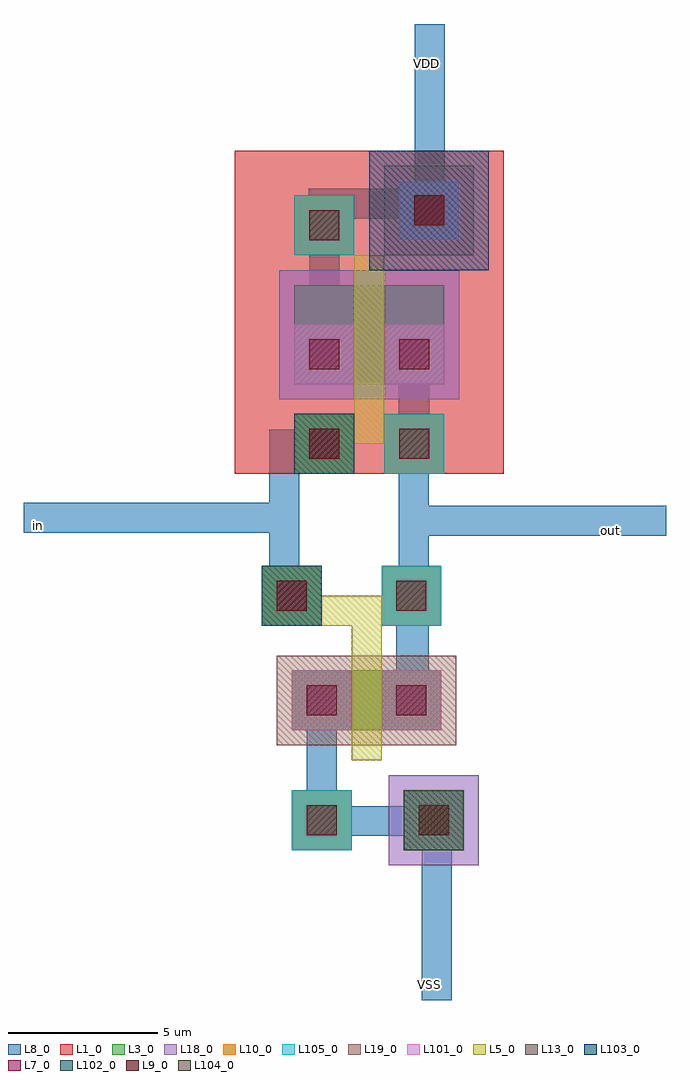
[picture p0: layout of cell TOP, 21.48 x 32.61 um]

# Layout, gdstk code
import gdstk
lib = gdstk.Library(unit=1e-6, precision=1e-08)
def R(c, l, rs):  # rectangles x0, y0, x1, y1
    for r in rs: c.add(gdstk.rectangle(r[:2], r[2:], *l))
L1_0 = (1, 0)
L3_0 = (3, 0)
L5_0 = (5, 0)
L7_0 = (7, 0)
L8_0 = (8, 0)
L9_0 = (9, 0)
L10_0 = (10, 0)
L13_0 = (13, 0)
L18_0 = (18, 0)
L19_0 = (19, 0)
L101_0 = (101, 0)
L102_0 = (102, 0)
L103_0 = (103, 0)
L104_0 = (104, 0)
L105_0 = (105, 0)

dcont = lib.new_cell('dcont')
R(dcont, L3_0, [(-1,-1,1,1)])
R(dcont, L7_0, [(-0.5,-0.5,0.5,0.5)])
R(dcont, L8_0, [(-1,-1,1,1)])
R(dcont, L13_0, [(-0.5,-0.5,0.5,0.5)])
R(dcont, L101_0, [(-1,-1,1,1)])

pcont = lib.new_cell('pcont')
R(pcont, L5_0, [(-1,-1,1,1)])
R(pcont, L7_0, [(-0.5,-0.5,0.5,0.5)])
R(pcont, L8_0, [(-1,-1,1,1)])
R(pcont, L13_0, [(-0.5,-0.5,0.5,0.5)])
R(pcont, L102_0, [(-1,-1,1,1)])

via = lib.new_cell('Via')
R(via, L8_0, [(-1,-1,1,1)])
R(via, L9_0, [(-0.5,-0.5,0.5,0.5)])
R(via, L10_0, [(-1,-1,1,1)])
R(via, L13_0, [(-0.5,-0.5,0.5,0.5)])
R(via, L105_0, [(-1,-1,1,1)])

dcont1 = lib.new_cell('dcont1')
R(dcont1, L3_0, [(-1,-1,1,1)])
R(dcont1, L7_0, [(-0.5,-0.5,0.5,0.5)])
R(dcont1, L8_0, [(-1,-1,1,1)])
R(dcont1, L13_0, [(-0.5,-0.5,0.5,0.5)])
R(dcont1, L101_0, [(-1,-1,1,1)])

nsubcont = lib.new_cell('nsubcont')
R(nsubcont, L1_0, [(-2,-2,2,2)])
R(nsubcont, L19_0, [(-1.5,-1.5,1.5,1.5)])
R(nsubcont, L103_0, [(-2,-2,2,2)])
nsubcont.add(gdstk.Reference(dcont1, (0,0)))

pch_1 = lib.new_cell('Pch$1')
R(pch_1, L1_0, [(-2,0,7,10.8)])
R(pch_1, L3_0, [(0,3,5,6.3)])
R(pch_1, L18_0, [(-0.5,2.5,5.5,6.8)])
pch_1.add(gdstk.FlexPath([(1,3),(1,6.3)], 2, ends="flush", simple_path=True, layer=8, datatype=0))  # L8_0
pch_1.add(gdstk.FlexPath([(4,3),(4,6.3)], 2, ends="flush", simple_path=True, layer=8, datatype=0))  # L8_0
pch_1.add(gdstk.FlexPath([(1,5.3),(1,8.3)], 1, ends="flush", simple_path=True, layer=8, datatype=0))  # L8_0
pch_1.add(gdstk.FlexPath([(4,1),(4,4)], 1, ends="flush", simple_path=True, layer=8, datatype=0))  # L8_0
pch_1.add(gdstk.FlexPath([(2.5,3),(2.5,6.3)], 1, ends=(1, 1), simple_path=True, layer=5, datatype=0))  # L5_0
pch_1.add(gdstk.FlexPath([(1,1.5),(2.5,1.5),(2.5,2)], 1, ends="flush", simple_path=True, layer=5, datatype=0))  # L5_0
pch_1.add(gdstk.Reference(dcont, (1,4)))
pch_1.add(gdstk.Reference(dcont, (4,4)))
pch_1.add(gdstk.Reference(pcont, (1,1)))
pch_1.add(gdstk.Reference(via, (1,1)))
pch_1.add(gdstk.Reference(via, (1,8.3)))
pch_1.add(gdstk.Reference(via, (4,1)))
pch_1.add(gdstk.Reference(nsubcont, (4.5,8.8)))
pch_1.add(gdstk.Reference(via, (4.5,8.8)))

psubcont = lib.new_cell('psubcont')
R(psubcont, L18_0, [(-1.5,-1.5,1.5,1.5)])
R(psubcont, L104_0, [(-1,-1,1,1)])
psubcont.add(gdstk.Reference(dcont1, (0,0)))

nch = lib.new_cell('Nch')
R(nch, L3_0, [(0,3,5,5)])
R(nch, L19_0, [(-0.5,2.5,5.5,5.5)])
nch.add(gdstk.FlexPath([(1,3),(1,5)], 2, ends="flush", simple_path=True, layer=8, datatype=0))  # L8_0
nch.add(gdstk.FlexPath([(4,3),(4,5)], 2, ends="flush", simple_path=True, layer=8, datatype=0))  # L8_0
nch.add(gdstk.FlexPath([(1,0),(1,4)], 1, ends="flush", simple_path=True, layer=8, datatype=0))  # L8_0
nch.add(gdstk.FlexPath([(4,3),(4,7)], 1, ends="flush", simple_path=True, layer=8, datatype=0))  # L8_0
nch.add(gdstk.FlexPath([(2.5,3),(2.5,5)], 1, ends=(1, 1), simple_path=True, layer=5, datatype=0))  # L5_0
nch.add(gdstk.FlexPath([(0,7),(2.5,7),(2.5,6)], 1, ends="flush", simple_path=True, layer=5, datatype=0))  # L5_0
nch.add(gdstk.Reference(dcont, (1,4)))
nch.add(gdstk.Reference(dcont, (4,4)))
nch.add(gdstk.Reference(pcont, (0,7.5)))
nch.add(gdstk.Reference(via, (0,7.5)))
nch.add(gdstk.Reference(via, (1,0)))
nch.add(gdstk.Reference(via, (4,7.5)))
nch.add(gdstk.Reference(psubcont, (4.75,0)))
nch.add(gdstk.Reference(via, (4.75,0)))

top = lib.new_cell('TOP')
top.add(gdstk.FlexPath([(9.53,11.8),(9.53,0.08)], 1, ends="flush", simple_path=True, layer=8, datatype=0))  # L8_0
top.add(gdstk.FlexPath([(7.04,8.74),(5.2,8.74),(5.2,3.24)], 1, ends="flush", simple_path=True, layer=8, datatype=0))  # L8_0
top.add(gdstk.FlexPath([(6.52,15.46),(6.52,16.79),(10.06,16.79),(10.06,22.8)], 1, ends="flush", simple_path=True, layer=8, datatype=0))  # L8_0
top.add(gdstk.FlexPath([(5.2,6.3),(-3.51,6.3)], 1, ends="flush", simple_path=True, layer=8, datatype=0))  # L8_0
top.add(gdstk.FlexPath([(9.49,6.2),(17.97,6.2)], 1, ends="flush", simple_path=True, layer=8, datatype=0))  # L8_0
top.add(gdstk.FlexPath([(6.36,-3.83),(10.3,-3.83),(10.3,-9.81)], 1, ends="flush", simple_path=True, layer=8, datatype=0))  # L8_0
top.add(gdstk.Reference(pch_1, (5.54,7.77)))
top.add(gdstk.Reference(nch, (5.45,-3.8)))
top.add(gdstk.Label('VDD', (9.94,21.48), layer=8, texttype=0))
top.add(gdstk.Label('in', (-3.02,6.04), layer=8, texttype=0))
top.add(gdstk.Label('out', (16.1,5.88), layer=8, texttype=0))
top.add(gdstk.Label('VSS', (10.05,-9.28), layer=8, texttype=0))

lib.write_gds('TOP.gds')
